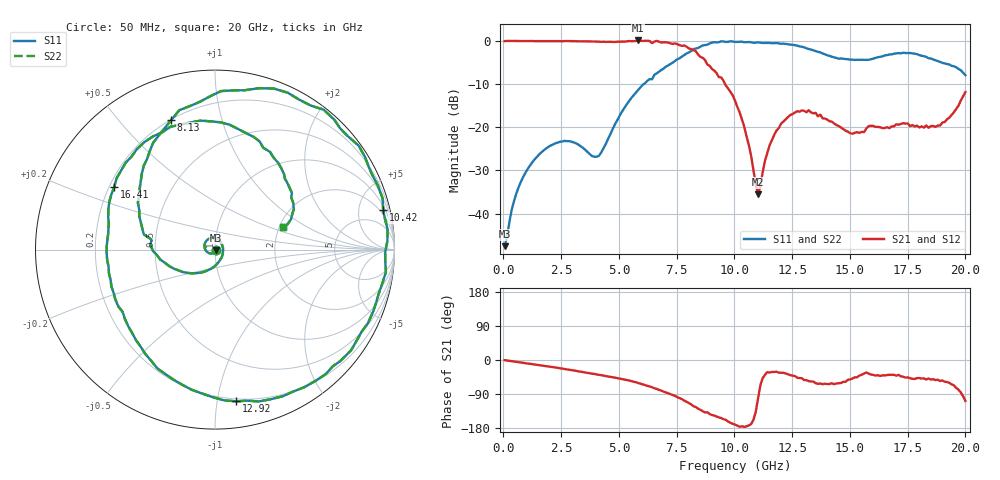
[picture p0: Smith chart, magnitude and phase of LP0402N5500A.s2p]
!	AVX THIN FILM OPERATION
!	0402 SIZE LOW PASS FILTER P/N LP0402N5500ANTR
!	Created August 2007
!	Network Analyzer HP8720E S.07.64: Feb23, 2000 Serial No.US39172382
#	mhz	S	db	R	50
!	S11	S11	S21	S21	S12	S12	S22	S22
!	dB	Phase	dB	Phase	dB	Phase	dB	Phase
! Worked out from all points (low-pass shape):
!   201 points, 50 MHz to 20 GHz, reference 50 ohm
!   highest |S21| = 0.08 dB at 5.835 GHz (marker M1); lowest = -35.5 dB at 11.02 GHz (marker M2)
!   |S21| within 3 dB of the highest: start of sweep to 8.392 GHz
!   lowest |S11| = -47.5 dB at 50 MHz (marker M3), VSWR 1.01, Z = 50.4 - j0.171 ohm
!   |S11| at or under -10 dB: start of sweep to 6.076 GHz
!   |S22| runs from -47.5 to -0.1 dB; largest |S21 - S12| = 0
!   S11 on the Smith chart (normalised r, x): 50 MHz: 1.01, -0.00; 8.13 GHz: 0.20, +0.70; 10.42 GHz: 1.38, +8.33; 12.92 GHz: 0.18, -1.13; 16.41 GHz: 0.22, +0.27; 20 GHz: 2.09, +0.64
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50  -47.53 -23.8  -0.07 -0.4  -0.07 -0.4  -47.53 -23.8
548.75  -35.49 -104.8  -0.06 -4.9  -0.06 -4.9  -35.49 -104.8
1346.75  -27.45 -157.1  -0.08 -11.9  -0.08 -11.9  -27.45 -157.1
2444  -23.37 139.9  -0.07 -21.6  -0.07 -21.6  -23.37 139.9
3441.5  -24.77 71.4  -0.12 -31.8  -0.12 -31.8  -24.77 71.4
4139.75  -26.57 -20.1  -0.22 -39.1  -0.22 -39.1  -26.57 -20.1
5835.5  -11.35 -160.1  0.08 -60.6  0.08 -60.6  -11.35 -160.1
6733.25  -7.15 160.1  -0.21 -78.8  -0.21 -78.8  -7.15 160.1
8129.75  -2.36 108.7  -1.92 -117.2  -1.92 -117.2  -2.36 108.7
9027.5  -0.40 69.9  -6.51 -145.3  -6.51 -145.3  -0.40 69.9
10025  -0.24 28.2  -13.85 -170.5  -13.85 -170.5  -0.24 28.2
10424  -0.33 13.3  -19.85 -176.4  -19.85 -176.4  -0.33 13.3
11022.5  -0.35 -7.5  -35.50 -101.9  -35.50 -101.9  -0.35 -7.5
11720.75  -0.55 -32.8  -21.79 -31.6  -21.79 -31.6  -0.55 -32.8
12917.75  -1.37 -82.0  -16.10 -47.9  -16.10 -47.9  -1.37 -82.0
13416.5  -2.20 -103.4  -16.79 -57.1  -16.79 -57.1  -2.20 -103.4
14713.25  -4.14 -153.5  -20.46 -57.7  -20.46 -57.7  -4.14 -153.5
16409  -3.60 148.2  -20.21 -40.5  -20.21 -40.5  -3.60 148.2
16708.25  -3.17 135.8  -20.21 -39.0  -20.21 -39.0  -3.17 135.8
17805.5  -2.98 87.6  -19.82 -50.1  -19.82 -50.1  -2.98 87.6
18902.75  -4.88 47.6  -19.61 -55.6  -19.61 -55.6  -4.88 47.6
20000  -7.96 18.7  -11.86 -108.2  -11.86 -108.2  -7.96 18.7
